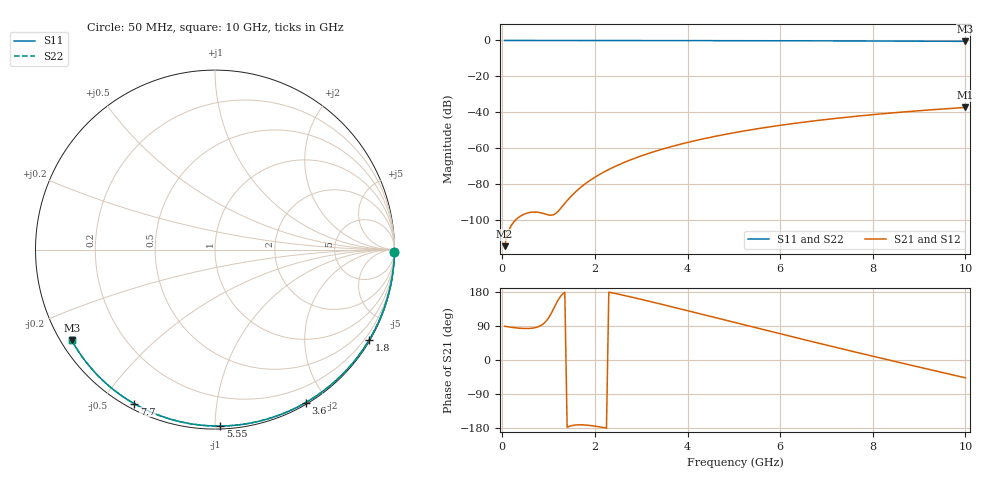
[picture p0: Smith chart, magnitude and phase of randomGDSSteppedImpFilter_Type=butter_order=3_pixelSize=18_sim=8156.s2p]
! freq	dB(S11)	phase(S11)	dB(S12)	phase(S12)
!  dB(S21)	phase(S21)	dB(S22)	phase(S22)
!S-par simulation data
#  GHz  S  DB  R 50
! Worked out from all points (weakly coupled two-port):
!   200 points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, 50 MHz to 10 GHz, reference 50 ohm
!   highest |S21| = -37.30 dB at 10 GHz (marker M1); lowest = -114.5 dB at 50 MHz (marker M2)
!   lowest |S11| = -0.5 dB at 10 GHz (marker M3), VSWR 35.00, Z = 1.55 - j14.5 ohm
!   |S11| at or under -10 dB: nowhere
!   |S22| runs from -0.5 to 0.0 dB; largest |S21 - S12| = 0
!   S11 on the Smith chart (normalised r, x): 50 MHz: open; 1.8 GHz: 0.03, -3.67; 3.6 GHz: 0.02, -1.75; 5.55 GHz: 0.02, -1.03; 7.7 GHz: 0.02, -0.60; 10 GHz: 0.03, -0.29
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0.05  -0.00 -0.9  -114.49 89.0  -114.49 89.0  -0.00 -0.9
0.45  -0.01 -7.7  -96.94 83.3  -96.94 83.3  -0.01 -7.7
0.9  -0.02 -15.4  -96.38 96.7  -96.38 96.7  -0.02 -15.4
1.3  -0.03 -22.1  -92.22 173.7  -92.22 173.7  -0.03 -22.1
1.75  -0.04 -29.6  -80.58 -171.3  -80.58 -171.3  -0.04 -29.6
1.8  -0.04 -30.5  -79.60 -171.7  -79.60 -171.7  -0.04 -30.4
1.95  -0.04 -32.9  -76.93 -173.7  -76.93 -173.7  -0.04 -32.9
2.1  -0.05 -35.4  -74.58 -176.4  -74.58 -176.4  -0.05 -35.4
2.3  -0.05 -38.7  -71.80 179.0  -71.80 179.0  -0.05 -38.7
2.5  -0.05 -41.9  -69.35 173.9  -69.35 173.9  -0.05 -41.9
2.9  -0.06 -48.3  -65.17 162.9  -65.17 162.9  -0.06 -48.3
3.4  -0.07 -56.2  -60.91 148.2  -60.91 148.2  -0.07 -56.2
3.6  -0.08 -59.4  -59.43 142.2  -59.43 142.2  -0.08 -59.3
4.3  -0.10 -70.0  -54.97 120.9  -54.97 120.9  -0.10 -70.0
5.05  -0.12 -81.1  -51.14 98.0  -51.14 98.0  -0.12 -81.1
5.55  -0.14 -88.3  -48.97 82.8  -48.97 82.8  -0.14 -88.3
6.1  -0.17 -96.1  -46.87 66.2  -46.87 66.2  -0.17 -96.1
6.7  -0.20 -104.3  -44.86 48.2  -44.86 48.2  -0.20 -104.3
7.7  -0.27 -117.7  -42.03 18.7  -42.03 18.7  -0.27 -117.7
8.35  -0.32 -126.2  -40.47 -0.1  -40.47 -0.1  -0.32 -126.3
9.2  -0.41 -137.3  -38.71 -24.4  -38.71 -24.4  -0.41 -137.3
10  -0.50 -147.7  -37.30 -47.0  -37.30 -47.0  -0.50 -147.7
